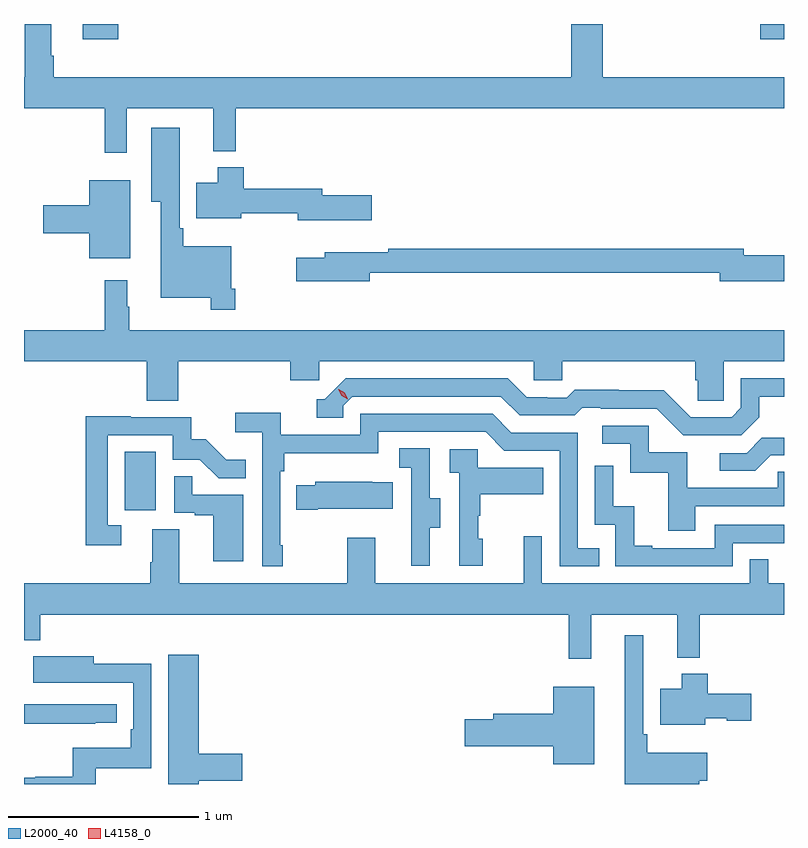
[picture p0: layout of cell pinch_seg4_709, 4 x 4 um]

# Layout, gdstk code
import gdstk
lib = gdstk.Library(unit=1e-6, precision=1e-09)
def R(c, l, rs):  # rectangles x0, y0, x1, y1
    for r in rs: c.add(gdstk.rectangle(r[:2], r[2:], *l))
def P(c, l, *ps):  # polygons
    for p in ps: c.add(gdstk.Polygon(p, *l))
L2000_40 = (2000, 40)
L4158_0 = (4158, 0)

pinch_seg4_709 = lib.new_cell('pinch_seg4_709')
R(pinch_seg4_709, L2000_40, [(855.296,828.006,855.46,828.313), (855.075,830.484,855.263,830.564), (858.643,830.484,858.767,830.564)])
P(pinch_seg4_709, L2000_40, [(855.309,830.12),(855.764,830.12),(855.764,829.895),(855.881,829.895),(855.881,830.12),(858.767,830.12),(858.767,830.284),(857.812,830.284),(857.812,830.564),(857.648,830.564),(857.648,830.284),(854.924,830.284),(854.924,830.396),(854.911,830.396),(854.911,830.564),(854.771,830.564),(854.771,830.284),(854.767,830.284),(854.767,830.12),(855.193,830.12),(855.193,829.887),(855.309,829.887)],
  [(855.878,829.171),(855.858,829.171),(855.858,829.393),(855.605,829.393),(855.605,829.489),(855.586,829.489),(855.586,830.017),(855.437,830.017),(855.437,829.628),(855.488,829.628),(855.488,829.124),(855.75,829.124),(855.75,829.059),(855.878,829.059)],
  [(856.597,829.662),(856.336,829.662),(856.336,829.696),(855.923,829.696),(855.923,829.81),(855.788,829.81),(855.788,829.729),(855.674,829.729),(855.674,829.541),(855.91,829.541),(855.91,829.567),(856.208,829.567),(856.208,829.532),(856.597,829.532)],
  [(855.325,829.741),(855.11,829.741),(855.11,829.61),(854.868,829.61),(854.868,829.463),(855.11,829.463),(855.11,829.331),(855.325,829.331)],
  [(856.588,829.254),(858.428,829.254),(858.428,829.211),(858.767,829.211),(858.767,829.346),(858.556,829.346),(858.556,829.382),(856.684,829.382),(856.684,829.363),(856.349,829.363),(856.349,829.333),(856.2,829.333),(856.2,829.211),(856.588,829.211)],
  [(855.31,829.076),(855.31,829.216),(855.193,829.216),(855.193,828.952),(854.767,828.952),(854.767,828.788),(855.413,828.788),(855.413,828.58),(855.578,828.58),(855.578,828.788),(856.169,828.788),(856.169,828.69),(856.32,828.69),(856.32,828.788),(857.451,828.788),(857.451,828.69),(857.601,828.69),(857.601,828.788),(858.299,828.788),(858.299,828.69),(858.313,828.69),(858.313,828.58),(858.45,828.58),(858.45,828.788),(858.767,828.788),(858.767,828.952),(855.322,828.952),(855.322,829.076)],
  [(858.637,828.493),(858.637,828.603),(858.767,828.603),(858.767,828.699),(858.54,828.699),(858.54,828.543),(858.492,828.495),(858.276,828.495),(858.134,828.637),(857.898,828.637),(857.898,828.64),(857.665,828.64),(857.623,828.597),(857.52,828.597),(857.52,828.6),(857.413,828.6),(857.314,828.699),(856.461,828.699),(856.35,828.588),(856.307,828.588),(856.307,828.492),(856.446,828.492),(856.446,828.555),(856.494,828.603),(857.277,828.603),(857.376,828.504),(857.665,828.504),(857.704,828.543),(857.803,828.543),(857.803,828.54),(858.096,828.54),(858.237,828.399),(858.543,828.399)],
  [(856.129,827.821),(856.116,827.821),(856.116,828.209),(856.136,828.209),(856.136,828.305),(856.632,828.305),(856.632,828.417),(857.196,828.417),(857.295,828.318),(857.586,828.318),(857.586,827.709),(857.795,827.709),(857.795,827.805),(857.682,827.805),(857.682,828.414),(857.332,828.414),(857.233,828.513),(856.536,828.513),(856.536,828.402),(856.118,828.402),(856.118,828.518),(855.879,828.518),(855.879,828.416),(856.02,828.416),(856.02,827.709),(856.129,827.709)],
  [(855.28,827.925),(855.207,827.925),(855.207,828.399),(855.549,828.399),(855.549,828.27),(855.693,828.27),(855.791,828.172),(855.935,828.172),(855.935,828.271),(855.831,828.271),(855.724,828.378),(855.648,828.378),(855.648,828.495),(855.329,828.495),(855.329,828.5),(855.091,828.5),(855.091,827.82),(855.28,827.82)],
  [(858.301,828.027),(858.767,828.027),(858.767,828.207),(858.733,828.207),(858.733,828.123),(858.259,828.123),(858.259,828.309),(858.054,828.309),(858.054,828.45),(857.811,828.45),(857.811,828.354),(857.958,828.354),(857.958,828.201),(858.157,828.201),(858.157,827.898),(858.301,827.898)],
  [(858.697,828.294),(858.767,828.294),(858.767,828.386),(858.65,828.386),(858.57,828.306),(858.429,828.306),(858.429,828.213),(858.616,828.213)],
  [(856.903,827.914),(856.957,827.914),(856.957,828.069),(856.902,828.069),(856.902,828.332),(856.743,828.332),(856.743,828.229),(856.806,828.229),(856.806,827.925),(856.805,827.925),(856.805,827.712),(856.903,827.712)],
  [(857.182,827.856),(857.157,827.856),(857.157,827.975),(857.167,827.975),(857.167,828.089),(857.501,828.089),(857.501,828.229),(857.154,828.229),(857.154,828.327),(857.007,828.327),(857.007,828.203),(857.058,828.203),(857.058,827.712),(857.182,827.712)],
  [(858.498,827.832),(858.767,827.832),(858.767,827.928),(858.402,827.928),(858.402,827.805),(858.073,827.805),(858.073,827.818),(857.978,827.818),(857.978,828.026),(857.868,828.026),(857.868,828.238),(857.772,828.238),(857.772,827.928),(857.88,827.928),(857.88,827.709),(858.498,827.709)],
  [(855.922,828.087),(855.653,828.087),(855.653,828.185),(855.558,828.185),(855.558,827.991),(855.665,827.991),(855.665,827.979),(855.764,827.979),(855.764,827.736),(855.922,827.736)],
  [(856.312,828.014),(856.709,828.014),(856.709,828.151),(856.601,828.151),(856.601,828.154),(856.299,828.154),(856.299,828.136),(856.201,828.136),(856.201,828.007),(856.312,828.007)],
  [(857.753,827.456),(858.206,827.456),(858.206,827.228),(858.323,827.228),(858.323,827.456),(858.767,827.456),(858.767,827.62),(858.684,827.62),(858.684,827.747),(858.588,827.747),(858.588,827.62),(857.493,827.62),(857.493,827.869),(857.396,827.869),(857.396,827.62),(856.615,827.62),(856.615,827.86),(856.468,827.86),(856.468,827.62),(855.583,827.62),(855.583,827.906),(855.443,827.906),(855.443,827.732),(855.431,827.732),(855.431,827.62),(854.767,827.62),(854.767,827.321),(854.852,827.321),(854.852,827.456),(857.635,827.456),(857.635,827.223),(857.753,827.223)],
  [(858.32,826.582),(858.364,826.582),(858.364,826.729),(858.047,826.729),(858.047,826.825),(858.027,826.825),(858.027,827.347),(857.93,827.347),(857.93,826.564),(858.32,826.564)],
  [(855.688,826.582),(855.916,826.582),(855.916,826.724),(855.688,826.724),(855.688,827.245),(855.527,827.245),(855.527,826.564),(855.688,826.564)],
  [(855.145,826.647),(855.438,826.647),(855.438,827.198),(855.133,827.198),(855.133,827.236),(854.815,827.236),(854.815,827.096),(855.029,827.096),(855.029,827.097),(855.342,827.097),(855.342,826.852),(855.329,826.852),(855.329,826.756),(855.024,826.756),(855.024,826.601),(854.827,826.601),(854.827,826.596),(854.767,826.596),(854.767,826.564),(855.145,826.564)],
  [(858.352,826.91),(858.465,826.91),(858.465,826.898),(858.595,826.898),(858.595,827.04),(858.365,827.04),(858.365,827.143),(858.23,827.143),(858.23,827.065),(858.116,827.065),(858.116,826.877),(858.352,826.877)],
  [(857.767,827.077),(857.552,827.077),(857.552,826.934),(857.237,826.934),(857.237,826.904),(857.088,826.904),(857.088,826.762),(857.552,826.762),(857.552,826.667),(857.767,826.667)],
  [(855.143,826.887),(855.256,826.887),(855.256,826.983),(854.767,826.983),(854.767,826.882),(855.143,826.882)])
P(pinch_seg4_709, L4158_0, [(856.47,828.589),(856.439,828.608),(856.422,828.641),(856.422,828.641),(856.423,828.641),(856.454,828.622),(856.47,828.589),(856.47,828.589)])

lib.write_gds('pinch_seg4_709.gds')
